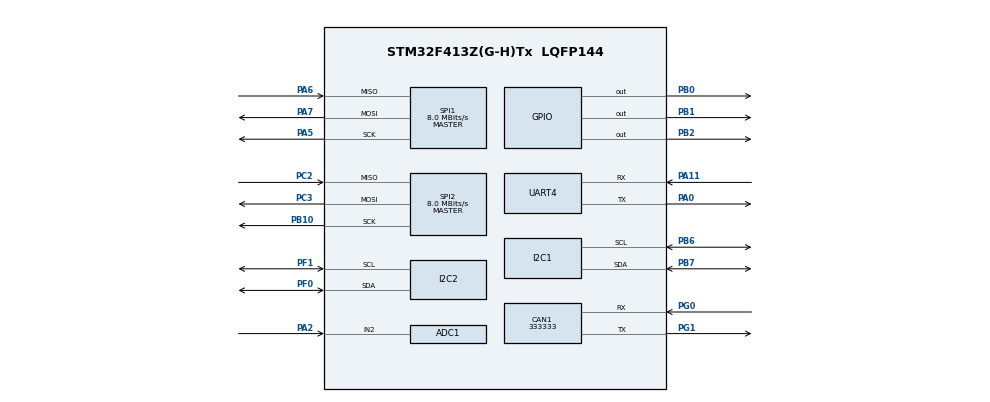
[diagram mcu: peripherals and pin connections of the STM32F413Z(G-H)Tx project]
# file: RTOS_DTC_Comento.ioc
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ADC1.Channel-2\#ChannelRegularConversion=ADC_CHANNEL_2
ADC1.NbrOfConversionFlag=1
ADC1.Rank-2\#ChannelRegularConversion=1
ADC1.SamplingTime-2\#ChannelRegularConversion=ADC_SAMPLETIME_3CYCLES
ADC1.master=1
CAN1.CalculateBaudRate=333333
CAN1.CalculateTimeBit=3000
CAN1.CalculateTimeQuantum=1000.0
Dma.I2C1_RX.0.Direction=DMA_PERIPH_TO_MEMORY
Dma.I2C1_RX.0.FIFOMode=DMA_FIFOMODE_DISABLE
Dma.I2C1_RX.0.Instance=DMA1_Stream0
Dma.I2C1_RX.0.MemDataAlignment=DMA_MDATAALIGN_BYTE
Dma.I2C1_RX.0.MemInc=DMA_MINC_ENABLE
Dma.I2C1_RX.0.Mode=DMA_NORMAL
Dma.I2C1_RX.0.PeriphDataAlignment=DMA_PDATAALIGN_BYTE
Dma.I2C1_RX.0.PeriphInc=DMA_PINC_DISABLE
Dma.I2C1_RX.0.Priority=DMA_PRIORITY_MEDIUM
Dma.I2C1_TX.1.Direction=DMA_MEMORY_TO_PERIPH
Dma.I2C1_TX.1.FIFOMode=DMA_FIFOMODE_DISABLE
Dma.I2C1_TX.1.Instance=DMA1_Stream6
Dma.I2C1_TX.1.MemDataAlignment=DMA_MDATAALIGN_BYTE
Dma.I2C1_TX.1.MemInc=DMA_MINC_ENABLE
Dma.I2C1_TX.1.Mode=DMA_NORMAL
Dma.I2C1_TX.1.PeriphDataAlignment=DMA_PDATAALIGN_BYTE
Dma.I2C1_TX.1.PeriphInc=DMA_PINC_DISABLE
Dma.I2C1_TX.1.Priority=DMA_PRIORITY_MEDIUM
Dma.I2C2_RX.2.Direction=DMA_PERIPH_TO_MEMORY
Dma.I2C2_RX.2.FIFOMode=DMA_FIFOMODE_DISABLE
Dma.I2C2_RX.2.Instance=DMA1_Stream2
Dma.I2C2_RX.2.MemDataAlignment=DMA_MDATAALIGN_BYTE
Dma.I2C2_RX.2.MemInc=DMA_MINC_ENABLE
Dma.I2C2_RX.2.Mode=DMA_NORMAL
Dma.I2C2_RX.2.PeriphDataAlignment=DMA_PDATAALIGN_BYTE
Dma.I2C2_RX.2.PeriphInc=DMA_PINC_DISABLE
Dma.I2C2_RX.2.Priority=DMA_PRIORITY_LOW
Dma.I2C2_TX.3.Direction=DMA_MEMORY_TO_PERIPH
Dma.I2C2_TX.3.FIFOMode=DMA_FIFOMODE_DISABLE
Dma.I2C2_TX.3.Instance=DMA1_Stream7
Dma.I2C2_TX.3.MemDataAlignment=DMA_MDATAALIGN_BYTE
Dma.I2C2_TX.3.MemInc=DMA_MINC_ENABLE
Dma.I2C2_TX.3.Mode=DMA_NORMAL
Dma.I2C2_TX.3.PeriphDataAlignment=DMA_PDATAALIGN_BYTE
Dma.I2C2_TX.3.PeriphInc=DMA_PINC_DISABLE
Dma.I2C2_TX.3.Priority=DMA_PRIORITY_LOW
Dma.Request0=I2C1_RX
Dma.Request1=I2C1_TX
Dma.Request2=I2C2_RX
Dma.Request3=I2C2_TX
Dma.Request4=SPI1_RX
Dma.Request5=SPI1_TX
Dma.Request6=SPI2_RX
Dma.Request7=SPI2_TX
Dma.SPI1_RX.4.Direction=DMA_PERIPH_TO_MEMORY
Dma.SPI1_RX.4.FIFOMode=DMA_FIFOMODE_DISABLE
Dma.SPI1_RX.4.Instance=DMA2_Stream0
Dma.SPI1_RX.4.MemDataAlignment=DMA_MDATAALIGN_BYTE
Dma.SPI1_RX.4.MemInc=DMA_MINC_ENABLE
Dma.SPI1_RX.4.Mode=DMA_NORMAL
Dma.SPI1_RX.4.PeriphDataAlignment=DMA_PDATAALIGN_BYTE
Dma.SPI1_RX.4.PeriphInc=DMA_PINC_DISABLE
Dma.SPI1_RX.4.Priority=DMA_PRIORITY_LOW
Dma.SPI1_TX.5.Direction=DMA_MEMORY_TO_PERIPH
Dma.SPI1_TX.5.FIFOMode=DMA_FIFOMODE_DISABLE
Dma.SPI1_TX.5.Instance=DMA2_Stream3
Dma.SPI1_TX.5.MemDataAlignment=DMA_MDATAALIGN_BYTE
Dma.SPI1_TX.5.MemInc=DMA_MINC_ENABLE
Dma.SPI1_TX.5.Mode=DMA_NORMAL
Dma.SPI1_TX.5.PeriphDataAlignment=DMA_PDATAALIGN_BYTE
Dma.SPI1_TX.5.PeriphInc=DMA_PINC_DISABLE
Dma.SPI1_TX.5.Priority=DMA_PRIORITY_LOW
Dma.SPI2_RX.6.Direction=DMA_PERIPH_TO_MEMORY
Dma.SPI2_RX.6.FIFOMode=DMA_FIFOMODE_DISABLE
Dma.SPI2_RX.6.Instance=DMA1_Stream3
Dma.SPI2_RX.6.MemDataAlignment=DMA_MDATAALIGN_BYTE
Dma.SPI2_RX.6.MemInc=DMA_MINC_ENABLE
Dma.SPI2_RX.6.Mode=DMA_NORMAL
Dma.SPI2_RX.6.PeriphDataAlignment=DMA_PDATAALIGN_BYTE
Dma.SPI2_RX.6.PeriphInc=DMA_PINC_DISABLE
Dma.SPI2_RX.6.Priority=DMA_PRIORITY_LOW
Dma.SPI2_TX.7.Direction=DMA_MEMORY_TO_PERIPH
Dma.SPI2_TX.7.FIFOMode=DMA_FIFOMODE_DISABLE
Dma.SPI2_TX.7.Instance=DMA1_Stream4
Dma.SPI2_TX.7.MemDataAlignment=DMA_MDATAALIGN_BYTE
Dma.SPI2_TX.7.MemInc=DMA_MINC_ENABLE
Dma.SPI2_TX.7.Mode=DMA_NORMAL
Dma.SPI2_TX.7.PeriphDataAlignment=DMA_PDATAALIGN_BYTE
Dma.SPI2_TX.7.PeriphInc=DMA_PINC_DISABLE
Dma.SPI2_TX.7.Priority=DMA_PRIORITY_LOW
FREERTOS.Mutexes01=CommMutexHandle,Dynamic,NULL,Available
FREERTOS.Queues01=CanQueue,8,8,1,Dynamic,NULL,NULL
FREERTOS.Tasks01=defaultTask,24,128,StartDefaultTask,Default,NULL,Dynamic,NULL,NULL;I2CTask,24,128,StartI2CTask,Default,NULL,Dynamic,NULL,NULL;SPITask,24,128,StartSPITask,Default,NULL,Dynamic,NULL,NULL;CANTask,24,128,StartCANTask,Default,NULL,Dynamic,NULL,NULL;UARTTask,24,128,StartUARTTask,Default,NULL,Dynamic,NULL,NULL
Mcu.Family=STM32F4
Mcu.Name=STM32F413Z(G-H)Tx
Mcu.Package=LQFP144
NVIC.CAN1_RX0_IRQn=true\:5\:0\:false\:false\:true\:true\:true\:true\:true
NVIC.CAN1_TX_IRQn=true\:5\:0\:false\:false\:true\:true\:true\:true\:true
NVIC.DMA1_Stream0_IRQn=true\:5\:0\:false\:false\:true\:true\:false\:true\:true
NVIC.DMA1_Stream2_IRQn=true\:5\:0\:false\:false\:true\:true\:false\:true\:true
NVIC.DMA1_Stream3_IRQn=true\:5\:0\:false\:false\:true\:true\:false\:true\:true
NVIC.DMA1_Stream4_IRQn=true\:5\:0\:false\:false\:true\:true\:false\:true\:true
NVIC.DMA1_Stream6_IRQn=true\:5\:0\:false\:false\:true\:false\:false\:true\:true
NVIC.DMA1_Stream7_IRQn=true\:5\:0\:false\:false\:true\:true\:false\:true\:true
NVIC.DMA2_Stream0_IRQn=true\:5\:0\:false\:false\:true\:true\:false\:true\:true
NVIC.DMA2_Stream3_IRQn=true\:5\:0\:false\:false\:true\:false\:false\:true\:true
NVIC.I2C1_ER_IRQn=true\:5\:0\:false\:false\:true\:true\:true\:true\:true
NVIC.I2C1_EV_IRQn=true\:5\:0\:false\:false\:true\:true\:true\:true\:true
NVIC.I2C2_ER_IRQn=true\:5\:0\:false\:false\:true\:true\:true\:true\:true
NVIC.I2C2_EV_IRQn=true\:5\:0\:false\:false\:true\:true\:true\:true\:true
NVIC.PriorityGroup=NVIC_PRIORITYGROUP_4
NVIC.SPI1_IRQn=true\:5\:0\:false\:false\:true\:true\:true\:true\:true
NVIC.SPI2_IRQn=true\:5\:0\:false\:false\:true\:true\:true\:true\:true
NVIC.UART4_IRQn=true\:5\:0\:false\:false\:true\:true\:true\:true\:true
PA0.Mode=Asynchronous
PA0.Signal=UART4_TX
PA11.Mode=Asynchronous
PA11.Signal=UART4_RX
PA2.Signal=ADCx_IN2
PA5.Mode=Full_Duplex_Master
PA5.Signal=SPI1_SCK
PA6.Mode=Full_Duplex_Master
PA6.Signal=SPI1_MISO
PA7.Mode=Full_Duplex_Master
PA7.Signal=SPI1_MOSI
PB0.GPIO_Speed=GPIO_SPEED_FREQ_MEDIUM
PB0.PinState=GPIO_PIN_SET
PB0.Signal=GPIO_Output
PB1.GPIO_Speed=GPIO_SPEED_FREQ_MEDIUM
PB1.PinState=GPIO_PIN_SET
PB1.Signal=GPIO_Output
PB10.Mode=Full_Duplex_Master
PB10.Signal=SPI2_SCK
PB2.GPIO_ModeDefaultOutputPP=GPIO_MODE_OUTPUT_OD
PB2.GPIO_PuPd=GPIO_NOPULL
PB2.GPIO_Speed=GPIO_SPEED_FREQ_MEDIUM
PB2.PinState=GPIO_PIN_SET
PB2.Signal=GPIO_Output
PB6.Mode=I2C
PB6.Signal=I2C1_SCL
PB7.Mode=I2C
PB7.Signal=I2C1_SDA
PC2.Mode=Full_Duplex_Master
PC2.Signal=SPI2_MISO
PC3.Mode=Full_Duplex_Master
PC3.Signal=SPI2_MOSI
PF0.Mode=I2C
PF0.Signal=I2C2_SDA
PF1.Mode=I2C
PF1.Signal=I2C2_SCL
PG0.Mode=CAN_Activate
PG0.Signal=CAN1_RX
PG1.Mode=CAN_Activate
PG1.Signal=CAN1_TX
ProjectManager.HeapSize=0x200
ProjectManager.StackSize=0x400
ProjectManager.TargetToolchain=STM32CubeIDE
RCC.CortexFreq_Value=16000000
RCC.USBFreq_Value=96000000
RCC.VCOOutputFreq_Value=192000000
SH.ADCx_IN2.0=ADC1_IN2,IN2
SPI1.CalculateBaudRate=8.0 MBits/s
SPI1.Direction=SPI_DIRECTION_2LINES
SPI1.Mode=SPI_MODE_MASTER
SPI1.VirtualType=VM_MASTER
SPI2.CalculateBaudRate=8.0 MBits/s
SPI2.Direction=SPI_DIRECTION_2LINES
SPI2.Mode=SPI_MODE_MASTER
SPI2.VirtualType=VM_MASTER
UART4.VirtualMode=Asynchronous
VP_FREERTOS_VS_CMSIS_V2.Mode=CMSIS_V2
board=custom

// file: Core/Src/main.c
/* USER CODE BEGIN Header */
/**
  ******************************************************************************
  * @file           : main.c
  * @brief          : Main program body
  ******************************************************************************
  * @attention
  *
  * <h2><center>&copy; Copyright (c) 2025 STMicroelectronics.
  * All rights reserved.</center></h2>
  *
  * This software component is licensed by ST under BSD 3-Clause license,
  * the "License"; You may not use this file except in compliance with the
  * License. You may obtain a copy of the License at:
  *                        opensource.org/licenses/BSD-3-Clause
  *
  ******************************************************************************
  */
/* USER CODE END Header */
#include "main.h"
#include "pmic_mp5475.h"
#include "cmsis_os.h"
#include <stdio.h>

/* USER CODE BEGIN Includes */
#include "power_monitor.h"
#include "fault_dtc.h"
#include "diagnostic.h"
/* USER CODE END Includes */

ADC_HandleTypeDef hadc1;

CAN_HandleTypeDef hcan1;

I2C_HandleTypeDef hi2c1;
I2C_HandleTypeDef hi2c2;
DMA_HandleTypeDef hdma_i2c1_rx;
DMA_HandleTypeDef hdma_i2c1_tx;
DMA_HandleTypeDef hdma_i2c2_rx;
DMA_HandleTypeDef hdma_i2c2_tx;

SPI_HandleTypeDef hspi1;
SPI_HandleTypeDef hspi2;
DMA_HandleTypeDef hdma_spi1_rx;
DMA_HandleTypeDef hdma_spi1_tx;
DMA_HandleTypeDef hdma_spi2_rx;
DMA_HandleTypeDef hdma_spi2_tx;

UART_HandleTypeDef huart4;

/* Definitions for defaultTask */
osThreadId_t defaultTaskHandle;
const osThreadAttr_t defaultTask_attributes = {
  .name = "defaultTask",
  .stack_size = 128 * 4,
  .priority = (osPriority_t) osPriorityNormal,
};
/* Definitions for I2CTask */
osThreadId_t I2CTaskHandle;
const osThreadAttr_t I2CTask_attributes = {
  .name = "I2CTask",
  .stack_size = 128 * 4,
  .priority = (osPriority_t) osPriorityNormal,
};
/* Definitions for SPITask */
osThreadId_t SPITaskHandle;
const osThreadAttr_t SPITask_attributes = {
  .name = "SPITask",
  .stack_size = 128 * 4,
  .priority = (osPriority_t) osPriorityNormal,
};
/* Definitions for CANTask */
osThreadId_t CANTaskHandle;
const osThreadAttr_t CANTask_attributes = {
  .name = "CANTask",
  .stack_size = 128 * 4,
  .priority = (osPriority_t) osPriorityNormal,
};
/* Definitions for UARTTask */
osThreadId_t UARTTaskHandle;
const osThreadAttr_t UARTTask_attributes = {
  .name = "UARTTask",
  .stack_size = 128 * 4,
  .priority = (osPriority_t) osPriorityNormal,
};
/* Definitions for CanQueue */
osMessageQueueId_t CanQueueHandle;
const osMessageQueueAttr_t CanQueue_attributes = {
  .name = "CanQueue"
};
/* Definitions for CommMutexHandle */
osMutexId_t CommMutexHandleHandle;
const osMutexAttr_t CommMutexHandle_attributes = {
  .name = "CommMutexHandle"
};

void SystemClock_Config(void);
static void MX_GPIO_Init(void);
static void MX_DMA_Init(void);
static void MX_ADC1_Init(void);
static void MX_CAN1_Init(void);
static void MX_I2C1_Init(void);
static void MX_I2C2_Init(void);
static void MX_SPI1_Init(void);
static void MX_SPI2_Init(void);
static void MX_UART4_Init(void);
void StartDefaultTask(void *argument);
void StartI2CTask(void *argument);
void StartSPITask(void *argument);
void StartCANTask(void *argument);
void StartUARTTask(void *argument);

int main(void)
{

  /* MCU Configuration--------------------------------------------------------*/

  /* Reset of all peripherals, Initializes the Flash interface and the Systick. */
  HAL_Init();

  /* Configure the system clock */
  SystemClock_Config();

  /* Initialize all configured peripherals */
  MX_GPIO_Init();
  MX_DMA_Init();
  MX_ADC1_Init();
  MX_CAN1_Init();
  MX_I2C1_Init();
  MX_I2C2_Init();
  MX_SPI1_Init();
  MX_SPI2_Init();
  MX_UART4_Init();
  /* USER CODE BEGIN 2 */

  /* PMIC 출력 전압 설정 (개발요구사항 5) */
  PMIC_SetVoutA_mV(1200);   // Buck A = 1.2V
  DIAG_UartPrint("PMIC VOUT set to 1200mV\r\n");

  uint8_t r13 = 0, r14 = 0;

  if (PMIC_ReadVoutA_Code(&r13, &r14) == HAL_OK)
  {
      char msg[64];
      sprintf(msg, "Readback: REG13=0x%02X, REG14=0x%02X\r\n", r13, r14);
      DIAG_UartPrint(msg);
  }
  else
  {
      DIAG_UartPrint("Readback FAIL\r\n");
  }

  /* USER CODE END 2 */

  /* Init scheduler */
  osKernelInitialize();
  /* Create the mutex(es) */
  /* creation of CommMutexHandle */
  CommMutexHandleHandle = osMutexNew(&CommMutexHandle_attributes);

  /* Create the queue(s) */
  /* creation of CanQueue */
  CanQueueHandle = osMessageQueueNew (8, 8, &CanQueue_attributes);

  /* Create the thread(s) */
  /* creation of defaultTask */
  defaultTaskHandle = osThreadNew(StartDefaultTask, NULL, &defaultTask_attributes);

  /* creation of I2CTask */
  I2CTaskHandle = osThreadNew(StartI2CTask, NULL, &I2CTask_attributes);

  /* creation of SPITask */
  SPITaskHandle = osThreadNew(StartSPITask, NULL, &SPITask_attributes);

  /* creation of CANTask */
  CANTaskHandle = osThreadNew(StartCANTask, NULL, &CANTask_attributes);

  /* creation of UARTTask */
  UARTTaskHandle = osThreadNew(StartUARTTask, NULL, &UARTTask_attributes);

  /* Start scheduler */
  osKernelStart();

  /* We should never get here as control is now taken by the scheduler */
  /* Infinite loop */
  while (1)
  {

    /* USER CODE BEGIN 3 */

	  // [1] 전원 상태 감시: PMIC에서 전압/고장 상태를 읽고 내부 상태값을 갱신
	      PowerMonitor_Task();

	      // [2] 방금 읽은 상태에서 저전압(UV)이면 고장 처리 루틴 수행
	      if (PMIC_IsUV())
	      {
	          // [3] DTC 생성 + EEPROM 저장(비휘발성): 전원 꺼져도 고장 이력을 보존하기 위함
	          FaultDTC_Task();

	          // [4] CAN/UDS로 DTC 보고 + UART 로그 출력(디버그)
	          //Diagnostic_Task();
	      }

	      // [5] 주기적 감시를 위해 딜레이(1초). 테스트 중엔 100ms 등으로 조정 가능
	      HAL_Delay(1000);
  }
  /* USER CODE END 3 */
}

void SystemClock_Config(void)
{
  RCC_OscInitTypeDef RCC_OscInitStruct = {0};
  RCC_ClkInitTypeDef RCC_ClkInitStruct = {0};

  /** Configure the main internal regulator output voltage
  */
  __HAL_RCC_PWR_CLK_ENABLE();
  __HAL_PWR_VOLTAGESCALING_CONFIG(PWR_REGULATOR_VOLTAGE_SCALE1);
  /** Initializes the RCC Oscillators according to the specified parameters
  * in the RCC_OscInitTypeDef structure.
  */
  RCC_OscInitStruct.OscillatorType = RCC_OSCILLATORTYPE_HSI;
  RCC_OscInitStruct.HSIState = RCC_HSI_ON;
  RCC_OscInitStruct.HSICalibrationValue = RCC_HSICALIBRATION_DEFAULT;
  RCC_OscInitStruct.PLL.PLLState = RCC_PLL_NONE;
  if (HAL_RCC_OscConfig(&RCC_OscInitStruct) != HAL_OK)
  {
    Error_Handler();
  }
  /** Initializes the CPU, AHB and APB buses clocks
  */
  RCC_ClkInitStruct.ClockType = RCC_CLOCKTYPE_HCLK|RCC_CLOCKTYPE_SYSCLK
                              |RCC_CLOCKTYPE_PCLK1|RCC_CLOCKTYPE_PCLK2;
  RCC_ClkInitStruct.SYSCLKSource = RCC_SYSCLKSOURCE_HSI;
  RCC_ClkInitStruct.AHBCLKDivider = RCC_SYSCLK_DIV1;
  RCC_ClkInitStruct.APB1CLKDivider = RCC_HCLK_DIV1;
  RCC_ClkInitStruct.APB2CLKDivider = RCC_HCLK_DIV1;

  if (HAL_RCC_ClockConfig(&RCC_ClkInitStruct, FLASH_LATENCY_0) != HAL_OK)
  {
    Error_Handler();
  }
}

static void MX_ADC1_Init(void)
{

  ADC_ChannelConfTypeDef sConfig = {0};

  /** Configure the global features of the ADC (Clock, Resolution, Data Alignment and number of conversion)
  */
  hadc1.Instance = ADC1;
  hadc1.Init.ClockPrescaler = ADC_CLOCK_SYNC_PCLK_DIV2;
  hadc1.Init.Resolution = ADC_RESOLUTION_12B;
  hadc1.Init.ScanConvMode = DISABLE;
  hadc1.Init.ContinuousConvMode = DISABLE;
  hadc1.Init.DiscontinuousConvMode = DISABLE;
  hadc1.Init.ExternalTrigConvEdge = ADC_EXTERNALTRIGCONVEDGE_NONE;
  hadc1.Init.ExternalTrigConv = ADC_SOFTWARE_START;
  hadc1.Init.DataAlign = ADC_DATAALIGN_RIGHT;
  hadc1.Init.NbrOfConversion = 1;
  hadc1.Init.DMAContinuousRequests = DISABLE;
  hadc1.Init.EOCSelection = ADC_EOC_SINGLE_CONV;
  if (HAL_ADC_Init(&hadc1) != HAL_OK)
  {
    Error_Handler();
  }
  /** Configure for the selected ADC regular channel its corresponding rank in the sequencer and its sample time.
  */
  sConfig.Channel = ADC_CHANNEL_2;
  sConfig.Rank = 1;
  sConfig.SamplingTime = ADC_SAMPLETIME_3CYCLES;
  if (HAL_ADC_ConfigChannel(&hadc1, &sConfig) != HAL_OK)
  {
    Error_Handler();
  }

}

static void MX_CAN1_Init(void)
{

  hcan1.Instance = CAN1;
  hcan1.Init.Prescaler = 16;
  hcan1.Init.Mode = CAN_MODE_NORMAL;
  hcan1.Init.SyncJumpWidth = CAN_SJW_1TQ;
  hcan1.Init.TimeSeg1 = CAN_BS1_1TQ;
  hcan1.Init.TimeSeg2 = CAN_BS2_1TQ;
  hcan1.Init.TimeTriggeredMode = DISABLE;
  hcan1.Init.AutoBusOff = DISABLE;
  hcan1.Init.AutoWakeUp = DISABLE;
  hcan1.Init.AutoRetransmission = DISABLE;
  hcan1.Init.ReceiveFifoLocked = DISABLE;
  hcan1.Init.TransmitFifoPriority = DISABLE;
  if (HAL_CAN_Init(&hcan1) != HAL_OK)
  {
    Error_Handler();
  }

}

static void MX_I2C1_Init(void)
{

  hi2c1.Instance = I2C1;
  hi2c1.Init.ClockSpeed = 100000;
  hi2c1.Init.DutyCycle = I2C_DUTYCYCLE_2;
  hi2c1.Init.OwnAddress1 = 0;
  hi2c1.Init.AddressingMode = I2C_ADDRESSINGMODE_7BIT;
  hi2c1.Init.DualAddressMode = I2C_DUALADDRESS_DISABLE;
  hi2c1.Init.OwnAddress2 = 0;
  hi2c1.Init.GeneralCallMode = I2C_GENERALCALL_DISABLE;
  hi2c1.Init.NoStretchMode = I2C_NOSTRETCH_DISABLE;
  if (HAL_I2C_Init(&hi2c1) != HAL_OK)
  {
    Error_Handler();
  }

}

static void MX_I2C2_Init(void)
{

  hi2c2.Instance = I2C2;
  hi2c2.Init.ClockSpeed = 100000;
  hi2c2.Init.DutyCycle = I2C_DUTYCYCLE_2;
  hi2c2.Init.OwnAddress1 = 0;
  hi2c2.Init.AddressingMode = I2C_ADDRESSINGMODE_7BIT;
  hi2c2.Init.DualAddressMode = I2C_DUALADDRESS_DISABLE;
  hi2c2.Init.OwnAddress2 = 0;
  hi2c2.Init.GeneralCallMode = I2C_GENERALCALL_DISABLE;
  hi2c2.Init.NoStretchMode = I2C_NOSTRETCH_DISABLE;
  if (HAL_I2C_Init(&hi2c2) != HAL_OK)
  {
    Error_Handler();
  }

}

static void MX_SPI1_Init(void)
{

  /* SPI1 parameter configuration*/
  hspi1.Instance = SPI1;
  hspi1.Init.Mode = SPI_MODE_MASTER;
  hspi1.Init.Direction = SPI_DIRECTION_2LINES;
  hspi1.Init.DataSize = SPI_DATASIZE_8BIT;
  hspi1.Init.CLKPolarity = SPI_POLARITY_LOW;
  hspi1.Init.CLKPhase = SPI_PHASE_1EDGE;
  hspi1.Init.NSS = SPI_NSS_SOFT;
  hspi1.Init.BaudRatePrescaler = SPI_BAUDRATEPRESCALER_2;
  hspi1.Init.FirstBit = SPI_FIRSTBIT_MSB;
  hspi1.Init.TIMode = SPI_TIMODE_DISABLE;
  hspi1.Init.CRCCalculation = SPI_CRCCALCULATION_DISABLE;
  hspi1.Init.CRCPolynomial = 10;
  if (HAL_SPI_Init(&hspi1) != HAL_OK)
  {
    Error_Handler();
  }

}

static void MX_SPI2_Init(void)
{

  /* SPI2 parameter configuration*/
  hspi2.Instance = SPI2;
  hspi2.Init.Mode = SPI_MODE_MASTER;
  hspi2.Init.Direction = SPI_DIRECTION_2LINES;
  hspi2.Init.DataSize = SPI_DATASIZE_8BIT;
  hspi2.Init.CLKPolarity = SPI_POLARITY_LOW;
  hspi2.Init.CLKPhase = SPI_PHASE_1EDGE;
  hspi2.Init.NSS = SPI_NSS_SOFT;
  hspi2.Init.BaudRatePrescaler = SPI_BAUDRATEPRESCALER_2;
  hspi2.Init.FirstBit = SPI_FIRSTBIT_MSB;
  hspi2.Init.TIMode = SPI_TIMODE_DISABLE;
  hspi2.Init.CRCCalculation = SPI_CRCCALCULATION_DISABLE;
  hspi2.Init.CRCPolynomial = 10;
  if (HAL_SPI_Init(&hspi2) != HAL_OK)
  {
    Error_Handler();
  }

}

static void MX_UART4_Init(void)
{

  huart4.Instance = UART4;
  huart4.Init.BaudRate = 115200;
  huart4.Init.WordLength = UART_WORDLENGTH_8B;
  huart4.Init.StopBits = UART_STOPBITS_1;
  huart4.Init.Parity = UART_PARITY_NONE;
  huart4.Init.Mode = UART_MODE_TX_RX;
  huart4.Init.HwFlowCtl = UART_HWCONTROL_NONE;
  huart4.Init.OverSampling = UART_OVERSAMPLING_16;
  if (HAL_UART_Init(&huart4) != HAL_OK)
  {
    Error_Handler();
  }

}

static void MX_DMA_Init(void)
{

  /* DMA controller clock enable */
  __HAL_RCC_DMA1_CLK_ENABLE();
  __HAL_RCC_DMA2_CLK_ENABLE();

  /* DMA interrupt init */
  /* DMA1_Stream0_IRQn interrupt configuration */
  HAL_NVIC_SetPriority(DMA1_Stream0_IRQn, 5, 0);
  HAL_NVIC_EnableIRQ(DMA1_Stream0_IRQn);
  /* DMA1_Stream2_IRQn interrupt configuration */
  HAL_NVIC_SetPriority(DMA1_Stream2_IRQn, 5, 0);
  HAL_NVIC_EnableIRQ(DMA1_Stream2_IRQn);
  /* DMA1_Stream3_IRQn interrupt configuration */
  HAL_NVIC_SetPriority(DMA1_Stream3_IRQn, 5, 0);
  HAL_NVIC_EnableIRQ(DMA1_Stream3_IRQn);
  /* DMA1_Stream4_IRQn interrupt configuration */
  HAL_NVIC_SetPriority(DMA1_Stream4_IRQn, 5, 0);
  HAL_NVIC_EnableIRQ(DMA1_Stream4_IRQn);
  /* DMA1_Stream6_IRQn interrupt configuration */
  HAL_NVIC_SetPriority(DMA1_Stream6_IRQn, 5, 0);
  HAL_NVIC_EnableIRQ(DMA1_Stream6_IRQn);
  /* DMA1_Stream7_IRQn interrupt configuration */
  HAL_NVIC_SetPriority(DMA1_Stream7_IRQn, 5, 0);
  HAL_NVIC_EnableIRQ(DMA1_Stream7_IRQn);
  /* DMA2_Stream0_IRQn interrupt configuration */
  HAL_NVIC_SetPriority(DMA2_Stream0_IRQn, 5, 0);
  HAL_NVIC_EnableIRQ(DMA2_Stream0_IRQn);
  /* DMA2_Stream3_IRQn interrupt configuration */
  HAL_NVIC_SetPriority(DMA2_Stream3_IRQn, 5, 0);
  HAL_NVIC_EnableIRQ(DMA2_Stream3_IRQn);

}

static void MX_GPIO_Init(void)
{
  GPIO_InitTypeDef GPIO_InitStruct = {0};

  /* GPIO Ports Clock Enable */
  __HAL_RCC_GPIOF_CLK_ENABLE();
  __HAL_RCC_GPIOC_CLK_ENABLE();
  __HAL_RCC_GPIOA_CLK_ENABLE();
  __HAL_RCC_GPIOB_CLK_ENABLE();
  __HAL_RCC_GPIOG_CLK_ENABLE();

  /*Configure GPIO pin Output Level */
  HAL_GPIO_WritePin(GPIOB, GPIO_PIN_0|GPIO_PIN_1|GPIO_PIN_2, GPIO_PIN_SET);

  /*Configure GPIO pins : PB0 PB1 */
  GPIO_InitStruct.Pin = GPIO_PIN_0|GPIO_PIN_1;
  GPIO_InitStruct.Mode = GPIO_MODE_OUTPUT_PP;
  GPIO_InitStruct.Pull = GPIO_NOPULL;
  GPIO_InitStruct.Speed = GPIO_SPEED_FREQ_MEDIUM;
  HAL_GPIO_Init(GPIOB, &GPIO_InitStruct);

  /*Configure GPIO pin : PB2 */
  GPIO_InitStruct.Pin = GPIO_PIN_2;
  GPIO_InitStruct.Mode = GPIO_MODE_OUTPUT_OD;
  GPIO_InitStruct.Pull = GPIO_NOPULL;
  GPIO_InitStruct.Speed = GPIO_SPEED_FREQ_MEDIUM;
  HAL_GPIO_Init(GPIOB, &GPIO_InitStruct);

}

void StartDefaultTask(void *argument)
{
  for(;;)
  {
    osDelay(1);
  }
}

void StartI2CTask(void *argument)
{
  /* USER CODE BEGIN StartI2CTask */
	uint8_t data[2] = {0x00, 0x01}; // 보낼 데이터
  /* Infinite loop */
  for(;;)
  {
    // [Polling] 주소 0x12인 장치에 2바이트 전송, 10ms 동안 기다림(Timeout)
    HAL_I2C_Master_Transmit(&hi2c1, (0x12 << 1), data, 2, 10);
    osDelay(1);
  }
  /* USER CODE END StartI2CTask */
}

void StartSPITask(void *argument)
{
  for(;;)
  {
    osDelay(1);
  }
}

void StartCANTask(void *argument)
{
  for(;;)
  {
    osDelay(1);
  }
}

void StartUARTTask(void *argument)
{
  for(;;)
  {
    osDelay(1);
  }
}

void Error_Handler(void)
{
  __disable_irq();
  while (1)
  {
  }
}

/************************ (C) COPYRIGHT STMicroelectronics *****END OF FILE****/
